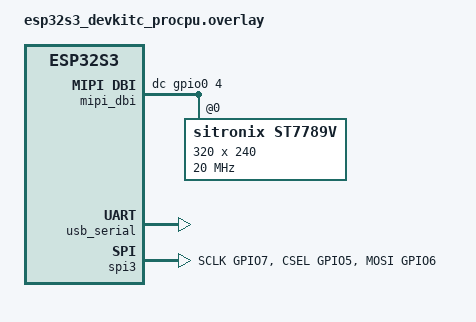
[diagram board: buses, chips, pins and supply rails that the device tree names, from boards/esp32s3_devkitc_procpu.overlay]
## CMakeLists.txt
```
cmake_minimum_required(VERSION 3.20.0)
find_package(Zephyr REQUIRED HINTS $ENV{ZEPHYR_BASE})
project(lcd_lvgl_test)

set(LVGL_DIR ${ZEPHYR_LVGL_MODULE_DIR})

target_sources(app PRIVATE src/main.c)

target_include_directories(app PRIVATE
    ${LVGL_DIR}/demos/
)

# Widgets demo sources
target_sources_ifdef(CONFIG_LV_USE_DEMO_WIDGETS app PRIVATE
    ${LVGL_DIR}/demos/widgets/assets/img_clothes.c
    ${LVGL_DIR}/demos/widgets/assets/img_demo_widgets_avatar.c
    ${LVGL_DIR}/demos/widgets/assets/img_demo_widgets_needle.c
    ${LVGL_DIR}/demos/widgets/assets/img_lvgl_logo.c
    ${LVGL_DIR}/demos/widgets/lv_demo_widgets.c
)

# Benchmark demo sources
target_sources_ifdef(CONFIG_LV_USE_DEMO_BENCHMARK app PRIVATE
    ${LVGL_DIR}/demos/benchmark/assets/img_benchmark_avatar.c
    ${LVGL_DIR}/demos/benchmark/assets/img_benchmark_lvgl_logo_argb.c
    ${LVGL_DIR}/demos/benchmark/assets/img_benchmark_lvgl_logo_rgb.c
    ${LVGL_DIR}/demos/benchmark/assets/lv_font_benchmark_montserrat_12_aligned.c
    ${LVGL_DIR}/demos/benchmark/assets/lv_font_benchmark_montserrat_14_aligned.c
    ${LVGL_DIR}/demos/benchmark/assets/lv_font_benchmark_montserrat_16_aligned.c
    ${LVGL_DIR}/demos/benchmark/assets/lv_font_benchmark_montserrat_18_aligned.c
    ${LVGL_DIR}/demos/benchmark/assets/lv_font_benchmark_montserrat_20_aligned.c
    ${LVGL_DIR}/demos/benchmark/assets/lv_font_benchmark_montserrat_24_aligned.c
    ${LVGL_DIR}/demos/benchmark/assets/lv_font_benchmark_montserrat_26_aligned.c
    ${LVGL_DIR}/demos/benchmark/lv_demo_benchmark.c
)
```

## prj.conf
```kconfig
# Console
CONFIG_PRINTK=y
CONFIG_CONSOLE=y
CONFIG_UART_CONSOLE=y
CONFIG_SERIAL=y

# GPIO (backlight)
CONFIG_GPIO=y

# SPI + Display
CONFIG_SPI=y
CONFIG_DISPLAY=y
CONFIG_MIPI_DBI=y

# LVGL
CONFIG_LVGL=y
CONFIG_LV_Z_MEM_POOL_SIZE=58368
CONFIG_LV_USE_LOG=y
CONFIG_LV_FONT_MONTSERRAT_12=y
CONFIG_LV_FONT_MONTSERRAT_14=y
CONFIG_LV_FONT_MONTSERRAT_16=y
CONFIG_LV_FONT_MONTSERRAT_18=y
CONFIG_LV_FONT_MONTSERRAT_24=y
CONFIG_LV_COLOR_DEPTH_16=y
CONFIG_LV_COLOR_16_SWAP=y
CONFIG_LV_Z_VDB_SIZE=10

# Demo selection (enable ONE)
CONFIG_LV_USE_DEMO_WIDGETS=y
# CONFIG_LV_USE_DEMO_BENCHMARK=y

# Stack
CONFIG_MAIN_STACK_SIZE=4096

# Logging
CONFIG_LOG=y
```

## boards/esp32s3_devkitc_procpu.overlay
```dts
/* CHD-ESP32-S3-BOX: LVGL on ST7789V 2.8" 320x240 SPI Display */

#include <zephyr/dt-bindings/pinctrl/esp-pinctrl-common.h>
#include <dt-bindings/pinctrl/esp32s3-pinctrl.h>
#include <zephyr/dt-bindings/pinctrl/esp32s3-gpio-sigmap.h>
#include <zephyr/dt-bindings/mipi_dbi/mipi_dbi.h>

/ {
	chosen {
		zephyr,console = &usb_serial;
		zephyr,shell-uart = &usb_serial;
		zephyr,display = &st7789v;
	};

	mipi_dbi {
		compatible = "zephyr,mipi-dbi-spi";
		dc-gpios = <&gpio0 4 GPIO_ACTIVE_HIGH>;
		spi-dev = <&spi3>;
		write-only;
		#address-cells = <1>;
		#size-cells = <0>;

		st7789v: st7789v@0 {
			compatible = "sitronix,st7789v";
			mipi-max-frequency = <20000000>;
			reg = <0>;
			width = <320>;
			height = <240>;
			x-offset = <0>;
			y-offset = <0>;
			vcom = <0x19>;
			gctrl = <0x35>;
			vrhs = <0x12>;
			vdvs = <0x20>;
			mdac = <0x60>;
			gamma = <0x01>;
			colmod = <0x55>;
			lcm = <0x2c>;
			porch-param = [0c 0c 00 33 33];
			cmd2en-param = [5a 69 02 01];
			pwctrl1-param = [a4 a1];
			pvgam-param = [D0 04 0D 11 13 2B 3F 54 4C 18 0D 0B 1F 23];
			nvgam-param = [D0 04 0C 11 13 2C 3F 44 51 2F 1F 1F 20 23];
			ram-param = [00 F0];
			rgb-param = [CD 08 14];
			mipi-mode = "MIPI_DBI_MODE_SPI_4WIRE";
		};
	};
};

&usb_serial {
	status = "okay";
};

&pinctrl {
	spim3_default: spim3_default {
		group1 {
			pinmux = <SPIM3_SCLK_GPIO7>,
				 <SPIM3_CSEL_GPIO5>;
		};
		group2 {
			pinmux = <SPIM3_MOSI_GPIO6>;
			output-low;
		};
	};
};

&spi3 {
	#address-cells = <1>;
	#size-cells = <0>;
	status = "okay";
	pinctrl-0 = <&spim3_default>;
	pinctrl-names = "default";
};
```

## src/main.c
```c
/*
 * CHD-ESP32-S3-BOX: LVGL Demo on ST7789V 320x240
 * Supports: Widgets demo, Benchmark, or simple Hello World
 */

#include <zephyr/kernel.h>
#include <zephyr/device.h>
#include <zephyr/devicetree.h>
#include <zephyr/drivers/display.h>
#include <zephyr/drivers/gpio.h>
#include <lvgl.h>

#if defined(CONFIG_LV_USE_DEMO_WIDGETS) || defined(CONFIG_LV_USE_DEMO_BENCHMARK)
#include <lv_demos.h>
#endif

/* Backlight: IO47 = GPIO1 pin 15 */
#define BLK_NODE DT_NODELABEL(gpio1)
#define BLK_PIN  15

int main(void)
{
	const struct device *display_dev;
	const struct device *gpio1_dev;

	printk("=== CHD-ESP32-S3-BOX LVGL Demo ===\n");

	/* Backlight ON */
	gpio1_dev = DEVICE_DT_GET(BLK_NODE);
	if (device_is_ready(gpio1_dev)) {
		gpio_pin_configure(gpio1_dev, BLK_PIN, GPIO_OUTPUT_ACTIVE);
		gpio_pin_set(gpio1_dev, BLK_PIN, 1);
		printk("Backlight: ON\n");
	}

	/* Get display device */
	display_dev = DEVICE_DT_GET(DT_CHOSEN(zephyr_display));
	if (!device_is_ready(display_dev)) {
		printk("ERROR: Display device not ready\n");
		return 0;
	}
	printk("Display device: %s\n", display_dev->name);

#if defined(CONFIG_LV_USE_DEMO_WIDGETS)
	printk("Running Widgets demo...\n");
	lv_demo_widgets();
#elif defined(CONFIG_LV_USE_DEMO_BENCHMARK)
	printk("Running Benchmark demo...\n");
	lv_demo_benchmark();
#else
	/* Fallback: simple Hello World */
	lv_obj_t *label = lv_label_create(lv_screen_active());
	lv_label_set_text(label, "Hello World!");
	lv_obj_align(label, LV_ALIGN_CENTER, 0, 0);
#endif

	lv_timer_handler();
	display_blanking_off(display_dev);

	printk("LVGL running...\n");

	while (1) {
		uint32_t sleep_ms = lv_timer_handler();
		k_msleep(MIN(sleep_ms, INT32_MAX));
	}
}
```
